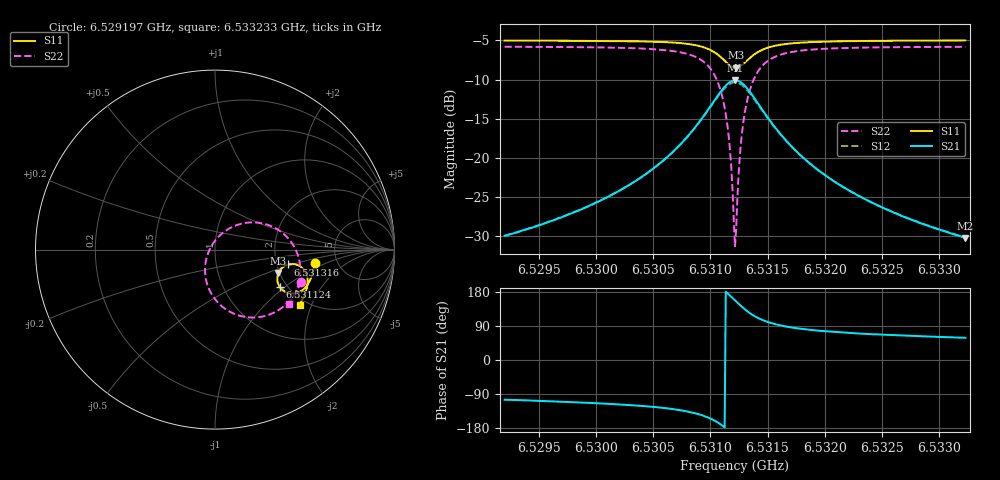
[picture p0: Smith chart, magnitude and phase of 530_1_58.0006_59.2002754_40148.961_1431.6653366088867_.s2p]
#  HZ  S  RI  R  50.00
! Rohde & Schwarz Vector Network Analyzer
! Rohde-Schwarz,ZNB20-2Port,1311601062101988,3.16
! Created: UTC 3/21/2024, 1:14:03 AM
! freq[Hz]  re:S11  im:S11  re:S21  im:S21  re:S12  im:S12  re:S22  im:S22
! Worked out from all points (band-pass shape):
!   401 points, 6.529197 GHz to 6.533233 GHz, reference 50 ohm
!   highest |S21| = -10.09 dB at 6.531215 GHz (marker M1); lowest = -30.2 dB at 6.533233 GHz (marker M2)
!   |S21| within 3 dB of the highest: 6.531015 GHz to 6.531418 GHz (403.6 kHz wide, 0.00618 % of centre)
!   lowest |S11| = -8.5 dB at 6.531225 GHz (marker M3), VSWR 2.21, Z = 98.7 - j29.8 ohm
!   |S11| at or under -10 dB: nowhere
!   |S22| runs from -31.3 to -5.8 dB; largest |S21 - S12| = 0.012
!   S11 on the Smith chart (normalised r, x): 6.529197 GHz: 3.39, -0.72; 6.531124 GHz: 1.83, -0.93; 6.531316 GHz: 2.31, -0.46; 6.533233 GHz: 1.82, -1.64
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6.5291973e9  0.556 -0.0733  -0.00813 -0.0307  -0.00875 -0.0306  0.4807 -0.178
6.5298733e9  0.5446 -0.1295  -0.0179 -0.0434  -0.0189 -0.0432  0.4491 -0.2406
6.5302365e9  0.5329 -0.1633  -0.0297 -0.0563  -0.0312 -0.0556  0.4172 -0.283
6.5305492e9  0.5146 -0.197  -0.0525 -0.0743  -0.0547 -0.073  0.3657 -0.3291
6.5307813e9  0.4868 -0.2264  -0.0932 -0.0935  -0.0961 -0.0904  0.2837 -0.3685
6.5309528e9  0.442 -0.2446  -0.1627 -0.099  -0.1648 -0.0925  0.156 -0.3732
6.5310537e9  0.3967 -0.238  -0.233 -0.0712  -0.2319 -0.0617  0.0377 -0.3154
6.5311243e9  0.3615 -0.2093  -0.2842 -0.0111  -0.2781 -0.0012  -0.039 -0.2058
6.5311647e9  0.3488 -0.1806  -0.3 0.0428  -0.2906 0.0508  -0.0558 -0.1138
6.531205e9  0.3484 -0.1464  -0.2944 0.1044  -0.2831 0.1086  -0.0363 -0.014
6.5312151e9  0.3504 -0.1378  -0.2892 0.1193  -0.2778 0.1227  -0.0254 0.00982
6.5312252e9  0.3535 -0.1295  -0.2824 0.134  -0.2712 0.1362  -0.0121 0.0324
6.5312353e9  0.3576 -0.1217  -0.2743 0.1477  -0.2632 0.1489  0.00334 0.0534
6.5312656e9  0.3736 -0.1016  -0.2434 0.1824  -0.2335 0.181  0.0593 0.1051
6.5312858e9  0.3867 -0.0918  -0.2194 0.1991  -0.2105 0.1966  0.1016 0.1288
6.531316e9  0.4079 -0.083  -0.1816 0.2145  -0.1748 0.2109  0.1665 0.1482
6.5313866e9  0.4521 -0.0835  -0.1045 0.2157  -0.1011 0.2123  0.2956 0.1373
6.5314875e9  0.4902 -0.1066  -0.0385 0.1831  -0.037 0.1813  0.4026 0.0682
6.5316389e9  0.5116 -0.1435  0.000967 0.1349  0.00188 0.1342  0.461 -0.0287
6.5318911e9  0.5164 -0.1874  0.0171 0.0878  0.0182 0.0875  0.4753 -0.1276
6.5325671e9  0.4971 -0.258  0.0186 0.0421  0.0194 0.0419  0.4467 -0.2441
6.533233e9  0.4708 -0.3078  0.016 0.0263  0.0166 0.0261  0.4122 -0.304
